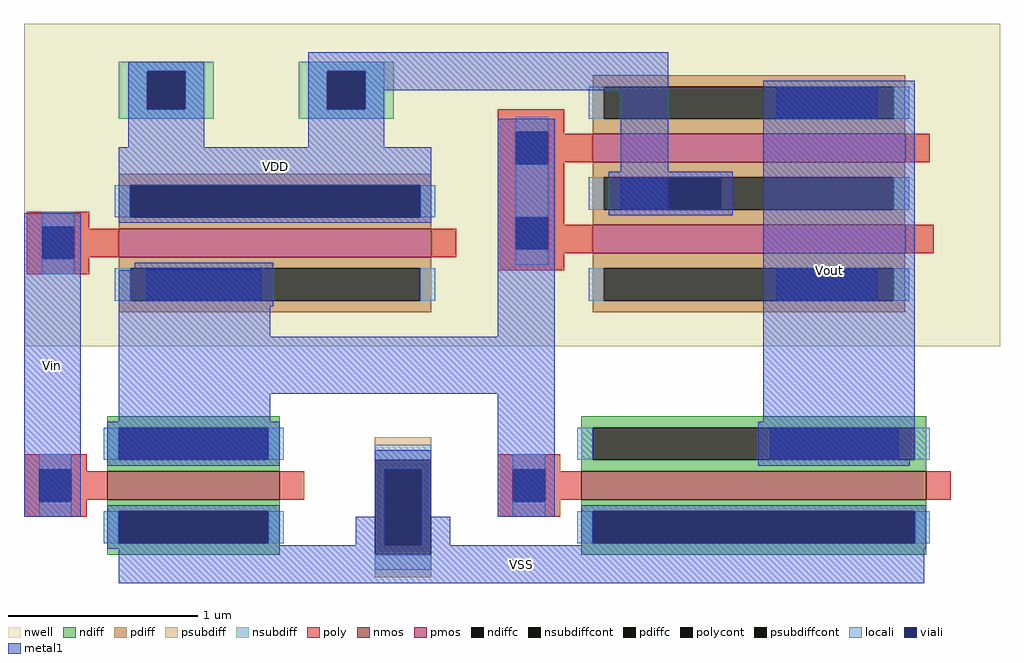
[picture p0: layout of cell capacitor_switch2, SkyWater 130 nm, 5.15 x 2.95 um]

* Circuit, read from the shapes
.subckt capacitor_switch2 VDD Vin Vout VSS
XM1 n1 Vin VSS VSS sky130_fd_pr__nfet_01v8 w=0.91 l=0.15
XM2 Vout n1 VSS VSS sky130_fd_pr__nfet_01v8 w=1.82 l=0.15
XM3 VDD Vin n1 VDD sky130_fd_pr__pfet_01v8 w=1.65 l=0.15
XM4 VDD n1 Vout VDD sky130_fd_pr__pfet_01v8 w=1.65 l=0.15 m=2
.ends

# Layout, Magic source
magic
tech sky130A
magscale 1 2
<< nwell >>
rect -300 910 730 1240
rect -300 900 240 910
<< psubdiff >>
rect 70 780 130 804
rect 70 656 130 680
<< nsubdiff >>
rect -200 1190 -100 1200
rect -200 1150 -170 1190
rect -130 1150 -100 1190
rect -200 1140 -100 1150
rect -10 1190 90 1200
rect -10 1150 20 1190
rect 60 1150 90 1190
rect -10 1140 90 1150
<< psubdiffcont >>
rect 70 680 130 780
<< nsubdiffcont >>
rect -170 1150 -130 1190
rect 20 1150 60 1190
<< locali >>
rect -190 1190 -110 1200
rect -190 1150 -170 1190
rect -130 1150 -110 1190
rect -190 1140 -110 1150
rect 0 1190 80 1200
rect 0 1150 20 1190
rect 60 1150 80 1190
rect 0 1140 80 1150
rect 70 780 130 796
rect 70 664 130 680
<< viali >>
rect -170 1150 -130 1190
rect 20 1150 60 1190
rect 80 690 120 770
<< metal1 >>
rect -190 1190 -110 1200
rect -190 1150 -170 1190
rect -130 1150 -110 1190
rect -190 1110 -110 1150
rect 0 1190 380 1210
rect 0 1150 20 1190
rect 60 1170 380 1190
rect 60 1150 80 1170
rect 0 1110 80 1150
rect -200 1070 130 1110
rect -300 720 -240 1040
rect -200 910 -40 980
rect 200 910 260 1140
rect 330 1040 380 1170
rect -200 850 260 910
rect -200 780 -40 850
rect 70 770 130 790
rect 70 720 80 770
rect 50 690 80 720
rect 120 720 130 770
rect 200 720 260 850
rect 480 780 640 1180
rect 120 690 150 720
rect -200 650 650 690
use sky130_fd_pr__nfet_01v8_9CME3F  XM1
transform 0 -1 -152 1 0 753
box -73 -148 73 148
use sky130_fd_pr__nfet_01v8_Z2KCLS  XM3
transform 0 -1 439 1 0 753
box -73 -239 73 239
use sky130_fd_pr__pfet_01v8_5AWN3K  sky130_fd_pr__pfet_01v8_5AWN3K_0
transform 0 -1 -71 1 0 1009
box -109 -263 109 229
use sky130_fd_pr__pfet_01v8_S6MTYS  sky130_fd_pr__pfet_01v8_S6MTYS_0
transform 0 -1 465 1 0 1061
box -161 -265 177 265
<< labels >>
rlabel metal1 -200 1070 130 1110 1 VDD
port 1 n
rlabel metal1 -300 720 -240 1040 1 Vin
port 2 n
rlabel metal1 480 780 620 1180 1 Vout
port 3 n
rlabel metal1 -200 650 650 690 1 VSS
port 4 n
<< end >>

# cell sky130_fd_pr__nfet_01v8_9CME3F: kit device sky130_fd_pr__nfet_01v8, w 0.91 l 0.15 m 1 nf 1 diffcov 100 polycov 100 guard 0 glc 1 grc 1 gtc 1 gbc 1 tbcov 100 rlcov 100 topc 1 botc 0 poverlap 0 doverlap 1 lmin 0.15 wmin 0.42 compatible {sky130_fd_pr__nfet_01v8 sky130_fd_pr__nfet_01v8_lvt sky130_fd_bs_flash__special_sonosfet_star sky130_fd_pr__nfet_g5v0d10v5 sky130_fd_pr__nfet_05v0_nvt sky130_fd_pr__nfet_03v3_nvt} full_metal 0 viasrc 100 viadrn 100 viagate 100 viagb 0 viagr 0 viagl 0 viagt 0

# cell sky130_fd_pr__nfet_01v8_Z2KCLS: kit device sky130_fd_pr__nfet_01v8, w 1.82 l 0.15 m 1 nf 1 diffcov 100 polycov 100 guard 0 glc 1 grc 1 gtc 1 gbc 1 tbcov 100 rlcov 100 topc 1 botc 0 poverlap 0 doverlap 1 lmin 0.15 wmin 0.42 compatible {sky130_fd_pr__nfet_01v8 sky130_fd_pr__nfet_01v8_lvt sky130_fd_bs_flash__special_sonosfet_star sky130_fd_pr__nfet_g5v0d10v5 sky130_fd_pr__nfet_05v0_nvt sky130_fd_pr__nfet_03v3_nvt} full_metal 0 viasrc +40 viadrn 100 viagate 100 viagb 0 viagr 0 viagl 0 viagt 0

# cell sky130_fd_pr__pfet_01v8_5AWN3K: kit device sky130_fd_pr__pfet_01v8, w 1.65 l 0.15 m 1 nf 1 diffcov 100 polycov 100 guard 0 glc 1 grc 1 gtc 1 gbc 1 tbcov 100 rlcov 100 topc 1 botc 0 poverlap 0 doverlap 1 lmin 0.15 wmin 0.42 compatible {sky130_fd_pr__pfet_01v8 sky130_fd_pr__pfet_01v8_lvt sky130_fd_pr__pfet_01v8_hvt sky130_fd_pr__pfet_g5v0d10v5} full_metal 0 viasrc 100 viadrn -40 viagate 100 viagb 0 viagr 0 viagl 0 viagt 0

# cell sky130_fd_pr__pfet_01v8_S6MTYS: kit device sky130_fd_pr__pfet_01v8, w 1.65 l 0.15 m 1 nf 2 diffcov 100 polycov 100 guard 0 glc 1 grc 1 gtc 1 gbc 1 tbcov 100 rlcov 100 topc 1 botc 0 poverlap 0 doverlap 1 lmin 0.15 wmin 0.42 compatible {sky130_fd_pr__pfet_01v8 sky130_fd_pr__pfet_01v8_lvt sky130_fd_pr__pfet_01v8_hvt sky130_fd_pr__pfet_g5v0d10v5} full_metal 0 viasrc -35 viadrn +35 viagate 100 viagb 0 viagr 0 viagl 0 viagt 0
